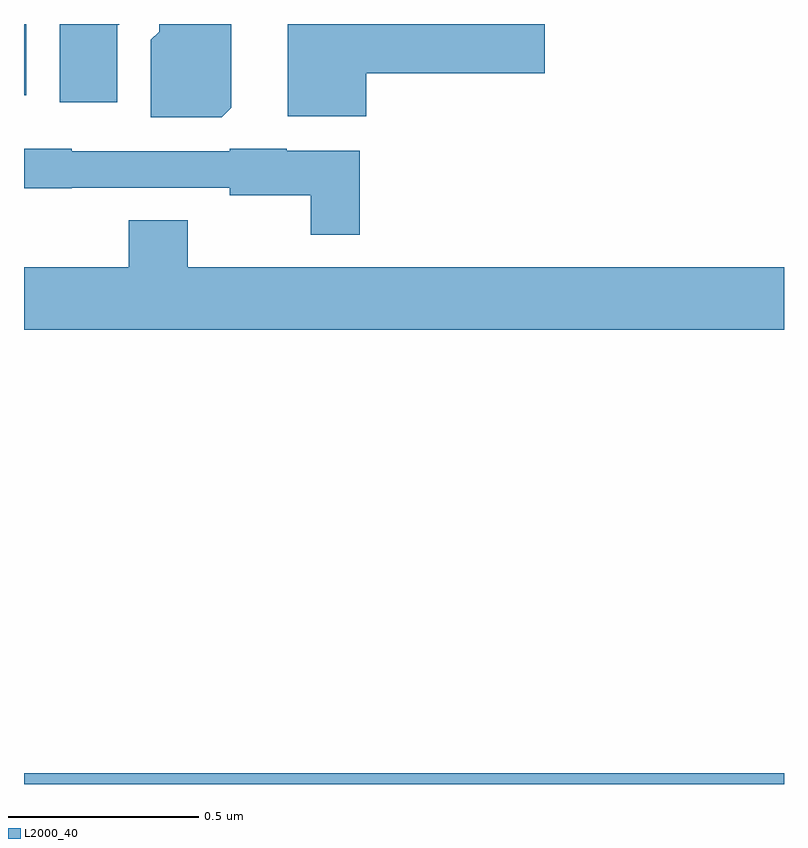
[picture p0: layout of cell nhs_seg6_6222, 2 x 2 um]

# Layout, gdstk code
import gdstk
lib = gdstk.Library(unit=1e-6, precision=1e-09)
def R(c, l, rs):  # rectangles x0, y0, x1, y1
    for r in rs: c.add(gdstk.rectangle(r[:2], r[2:], *l))
def P(c, l, *ps):  # polygons
    for p in ps: c.add(gdstk.Polygon(p, *l))
L2000_40 = (2000, 40)

nhs_seg6_6222 = lib.new_cell('nhs_seg6_6222')
R(nhs_seg6_6222, L2000_40, [(193,919.5,195,919.528), (193,921.312,193.006,921.5)])
P(nhs_seg6_6222, L2000_40, [(193.546,921.28),(193.546,921.5),(193.356,921.5),(193.356,921.48),(193.334,921.458),(193.334,921.254),(193.52,921.254)],
  [(193.246,921.498),(193.25,921.498),(193.25,921.5),(193.094,921.5),(193.094,921.294),(193.246,921.294)],
  [(193.9,921.371),(194.371,921.371),(194.371,921.5),(193.694,921.5),(193.694,921.257),(193.9,921.257)],
  [(193.883,921.166),(193.692,921.166),(193.692,921.172),(193.542,921.172),(193.542,921.165),(193.125,921.165),(193.125,921.172),(193,921.172),(193,921.068),(193.125,921.068),(193.125,921.069),(193.542,921.069),(193.542,921.05),(193.755,921.05),(193.755,920.945),(193.883,920.945)],
  [(195,920.86),(193.431,920.86),(193.431,920.984),(193.276,920.984),(193.276,920.86),(193,920.86),(193,920.696),(195,920.696)])

lib.write_gds('nhs_seg6_6222.gds')
